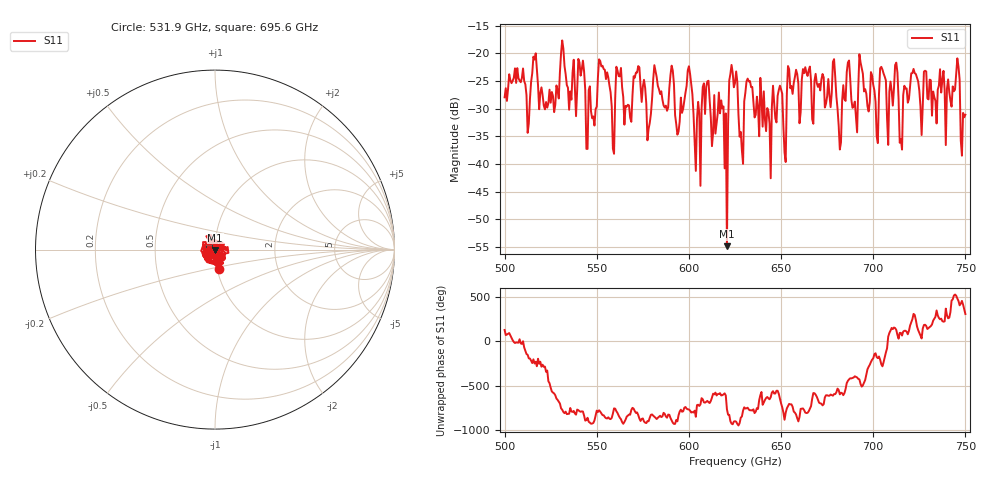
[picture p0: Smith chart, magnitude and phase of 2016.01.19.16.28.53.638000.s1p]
!Created with skrf (http://scikit-rf.org).
# GHz S RI R 50.0
!freq ReS11 ImS11
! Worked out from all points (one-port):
!   401 points, 500 GHz to 750 GHz, reference 50 ohm
!   lowest |S11| = -54.8 dB at 620.6 GHz (marker M1), VSWR 1.00, Z = 50.1 - j0.14 ohm
!   |S11| at or under -10 dB: start of sweep to end of sweep
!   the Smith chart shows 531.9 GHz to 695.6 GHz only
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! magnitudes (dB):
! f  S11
! 500 GHz  -27.9
! 513.1 GHz  -32.7
! 516.2 GHz  -21.1
! 526.2 GHz  -27.7
! 531.2 GHz  -17.7
! 545.6 GHz  -26.7
! 552.5 GHz  -22.4
! 558.8 GHz  -37.2
! 562.5 GHz  -24.2
! 578.1 GHz  -33.6
! 590.6 GHz  -22.2
! 593.8 GHz  -34.7
! 600 GHz  -22.3
! 605 GHz  -28.8
! 609.4 GHz  -26.1
! 620.6 GHz  -54.8
! 622.5 GHz  -23.7
! 625 GHz  -25.4
! 628.1 GHz  -34.2
! 631.9 GHz  -24.6
! 643.1 GHz  -30.5
! 656.2 GHz  -27.3
! 678.8 GHz  -21.0
! 681.9 GHz  -37.4
! 687.5 GHz  -24.6
! 718.8 GHz  -28.9
! 745.6 GHz  -20.9
! 750 GHz  -31.1
